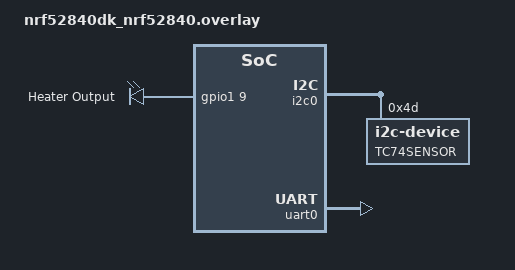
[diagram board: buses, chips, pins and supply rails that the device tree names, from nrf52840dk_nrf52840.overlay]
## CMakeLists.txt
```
cmake_minimum_required(VERSION 3.21.0)
find_package(Zephyr REQUIRED HINTS $ENV{ZEPHYR_BASE})
project(Temperature_measurement)

set(UNIT_TESTING OFF)  # Flip this to OFF when building the full app

# Common source folders
target_include_directories(app PRIVATE
    src/I2C
    src/CmdProc
    src/data
    src/UART
    src/GPIO
    src/Heater
    src/Control
)

target_sources(app PRIVATE
    src/I2C/i2c.c
    src/CmdProc/cmdproc.c
    src/data/data.c
    src/UART/uart.c
    src/GPIO/gpio.c
    src/Heater/heater.c
    src/Control/control.c
)

if(UNIT_TESTING)
    message(STATUS "Building Unity unit tests")

    # Unity test support
    target_include_directories(app PRIVATE
        src/test
        src/Unity
    )

    target_sources(app PRIVATE
        src/test/test_1.c
        src/Unity/unity.c
    )

else()
    message(STATUS "Building full app")
    target_sources(app PRIVATE src/main.c)
endif()
```

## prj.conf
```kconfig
# Main options
CONFIG_GPIO=y
CONFIG_SERIAL=y
CONFIG_UART_ASYNC_API=y
CONFIG_PRINTK=y
CONFIG_UART_CONSOLE=y

# I2C enable
CONFIG_I2C=y
```

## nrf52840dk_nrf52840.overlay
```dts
// To get started, press Ctrl+Space to bring up the completion menu and view the available nodes.

// You can also use the buttons in the sidebar to perform actions on nodes.
// Actions currently available include:

// * Enabling / disabling the node
// * Adding the bus to a bus
// * Removing the node
// * Connecting ADC channels

// For more help, browse the DeviceTree documentation at https://docs.zephyrproject.org/latest/guides/dts/index.html
// You can also visit the nRF DeviceTree extension documentation at https://nrfconnect.github.io/vscode-nrf-connect/devicetree/nrfdevicetree.html
&i2c0 {
    status = "okay";
    tc74sensor: tc74sensor@4d{
        compatible = "i2c-device";
        reg = < 0x4d >;
        label = "TC74SENSOR";
    };
};

&uart0 {
    status = "okay";
};

/ {
    gpiocustom {
        compatible = "gpio-leds";
        heater: heater {
            gpios = <&gpio1 9 GPIO_ACTIVE_HIGH>;
            label = "Heater Output";
        };
    };
    aliases {
        heater = &heater;
    };
};
```

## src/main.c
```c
/* 
 * main.c - Temperature control application using Zephyr RTOS on NRF platform
 *
 * This application interfaces with I2C sensors, UART for command input,
 * and controls a heater element based on temperature readings. It spawns
 * several concurrent threads, each handling a specific subsystem: 
 * - Command handling
 * - Sensor reading
 * - Control logic
 * - Actuation (heater)
 * - User interface
 */

#include <zephyr/sys/printk.h>
#include <zephyr/kernel.h>

#include "i2c.h"
#include "cmdproc.h"
#include "data.h"
#include "uart.h"
#include "gpio.h"
#include "heater.h"
#include "control.h"

#define STACK_SIZE 1024            // Stack size for each thread

// Thread priorities (lower number = higher priority)
#define COMMAND_PRIO 2
#define SENSOR_PRIO  3
#define CONTROL_PRIO 4
#define ACTUATOR_PRIO 5
#define UI_PRIO 1

// Define thread stacks
K_THREAD_STACK_DEFINE(command_stack, STACK_SIZE);
K_THREAD_STACK_DEFINE(sensor_stack, STACK_SIZE);
K_THREAD_STACK_DEFINE(control_stack, STACK_SIZE);
K_THREAD_STACK_DEFINE(actuator_stack, STACK_SIZE);
K_THREAD_STACK_DEFINE(ui_stack, STACK_SIZE);

// Thread control blocks
struct k_thread command_thread;
struct k_thread sensor_thread;
struct k_thread control_thread;
struct k_thread actuator_thread;
struct k_thread ui_thread;

// Thread identifiers
k_tid_t command_tid;
k_tid_t sensor_tid;
k_tid_t control_tid;
k_tid_t actuator_tid;
k_tid_t ui_tid;

/**
 * @brief Initialize all subsystems and create application threads
 * 
 * This function wraps all setup previously in `main()`, making it easier
 * to reuse during unit testing or simulate initialization.
 */
void app_init(void)
{
    // Initialize hardware drivers
    if (i2c_init() != 0) { printk("I2C failed\n"); return; }
    if (uart_init() != 0) { printk("UART failed\n"); return; }
    if (gpio_init() != 0) { printk("GPIO failed\n"); return; }
    if (heater_init() != 0) { printk("Heater failed\n"); return; }
    if (control_init() != 0) { printk("Heater failed\n"); return; }

    // Initialize system control state
    ctrl_state.system_on = false;
    ctrl_state.max_temp = 25;  // Default target temperature
    ctrl_state.hys_half_band = 2;  // Default hysteresis range

    // Initial LED state
    led4_toggle(0);
    led3_toggle(0);

    //Voltage on PIN1.9 used for heater = 0 V
    heater_off();

    // Thread creation
    command_tid = k_thread_create(&command_thread, command_stack,
        K_THREAD_STACK_SIZEOF(command_stack), command_thread_func,
        NULL, NULL, NULL, COMMAND_PRIO, 0, K_NO_WAIT);

    sensor_tid = k_thread_create(&sensor_thread, sensor_stack,
        K_THREAD_STACK_SIZEOF(sensor_stack), sensor_thread_func,
        NULL, NULL, NULL, SENSOR_PRIO, 0, K_NO_WAIT);

    control_tid = k_thread_create(&control_thread, control_stack,
        K_THREAD_STACK_SIZEOF(control_stack), control_thread_func,
        NULL, NULL, NULL, CONTROL_PRIO, 0, K_NO_WAIT);

    actuator_tid = k_thread_create(&actuator_thread, actuator_stack,
        K_THREAD_STACK_SIZEOF(actuator_stack), actuator_thread_func,
        NULL, NULL, NULL, ACTUATOR_PRIO, 0, K_NO_WAIT);

    ui_tid = k_thread_create(&ui_thread, ui_stack,
        K_THREAD_STACK_SIZEOF(ui_stack), ui_thread_func,
        NULL, NULL, NULL, UI_PRIO, 0, K_NO_WAIT);

}

/**
 * @brief Application entry point
 * 
 * Only calls initialization and sleeps indefinitely (threads do the work)
 */
int main(void)
{
    app_init(); // All hardware and thread setup is done here
    k_sleep(K_FOREVER); // Main thread sleeps forever
    return 0;
}
```

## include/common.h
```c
/* include/common.h */

#ifndef COMMON_H
#define COMMON_H

#include <zephyr.h>

/* RTDB – globalna “baza” */
struct rtdb {
    bool system_on;
    int32_t current_temperature;
    int32_t setpoint_temperature;
    int32_t max_temperature;
    int32_t Kp;
    int32_t Ti;
    int32_t Td;
    int32_t hysteresis;
};

extern struct rtdb shared_rtdb;
extern struct k_mutex rtdb_mutex;

#endif /* COMMON_H */
```

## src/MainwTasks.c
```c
/* main.c - Zephyr OS task scheduling example for thermal controller */

#include <zephyr/kernel.h>
#include <zephyr/sys/printk.h>
#include "i2c.h"
#include "cmdproc.h"
#include "data.h"
#include "uart.h"

#define STACK_SIZE 1024
#define PRIORITY_COMMAND 5
#define PRIORITY_SENSOR 4
#define PRIORITY_UI 6


/* Placeholder task functions */
void command_task(void)
{
int ret;

    while (1) {
        ret = cmdProcessor();
        if(ret == CMD_OK) {
            printk("Command processed successfully\n");
        } else if (ret == CMD_INVALID) {
            printk("Invalid command received\n");
        } else if (ret == CMD_CS_ERROR) {
            printk("Checksum error detected\n");
        } else if (ret == CMD_MISSING_SOF_ERROR || ret == CMD_MISSING_EOF_ERROR) {
            printk("Framing error detected\n");
        }
        k_msleep(100);
    }
}

void sensor_task(void)
{
    int8_t temperature;

    i2c_init();

    while (1) {
        if (i2c_read_temperature(&temperature) == 0) {
            k_mutex_lock(&sensor_data.mutex, K_FOREVER);
            sensor_data.temperature = temperature;
            k_mutex_unlock(&sensor_data.mutex);

            printk("Sensor task: Temperature: %d°C\n", temperature);
        } else {
            printk("Sensor task: Temperature read error\n");
        }
        k_msleep(1000);
    }
}

void ui_task(void)
{
    while (1) {
        /* Placeholder: buttons and LEDs handling logic */
        printk("UI task handling buttons and LEDs\n");
        k_msleep(200);
    }
}

/* Define thread stacks */
K_THREAD_STACK_DEFINE(command_stack, STACK_SIZE);
K_THREAD_STACK_DEFINE(sensor_stack, STACK_SIZE);
K_THREAD_STACK_DEFINE(ui_stack, STACK_SIZE);

/* Define thread control blocks */
struct k_thread command_thread;
struct k_thread sensor_thread;
struct k_thread ui_thread;

void main(void)
{   
    k_mutex_init(&sensor_data.mutex);

    printk("Starting thermal controller application with Zephyr tasks\n");

    /* Start command handling thread */
    k_thread_create(&command_thread, command_stack, STACK_SIZE,
                    (k_thread_entry_t)command_task, NULL, NULL, NULL,
                    PRIORITY_COMMAND, 0, K_NO_WAIT);

    /* Start temperature sensor handling thread */
    k_thread_create(&sensor_thread, sensor_stack, STACK_SIZE,
                    (k_thread_entry_t)sensor_task, NULL, NULL, NULL,
                    PRIORITY_SENSOR, 0, K_NO_WAIT);

    /* Start user interface (buttons & LEDs) handling thread */
    k_thread_create(&ui_thread, ui_stack, STACK_SIZE,
                    (k_thread_entry_t)ui_task, NULL, NULL, NULL,
                    PRIORITY_UI, 0, K_NO_WAIT);
}
```
